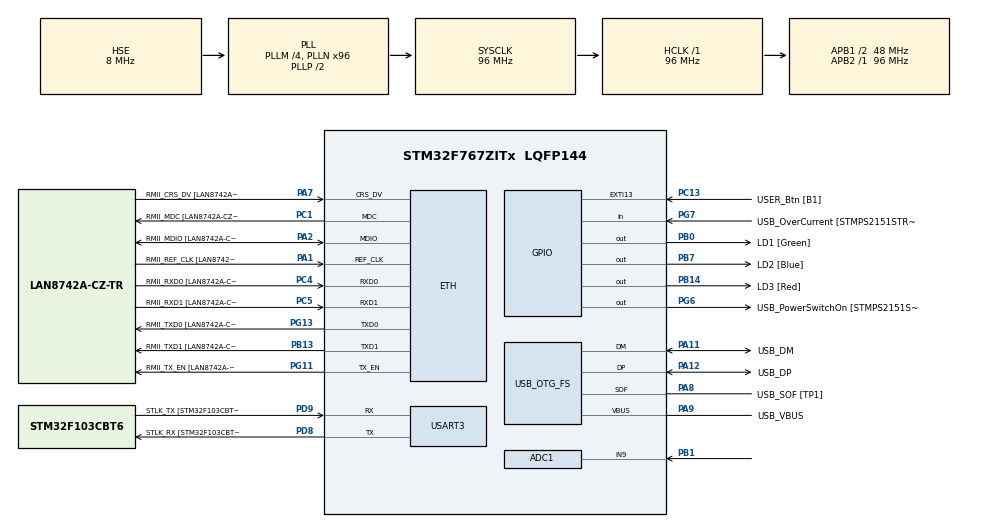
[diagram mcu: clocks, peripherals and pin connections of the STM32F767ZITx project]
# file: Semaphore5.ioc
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ADC1.Channel-0\#ChannelRegularConversion=ADC_CHANNEL_9
ADC1.NbrOfConversionFlag=1
ADC1.Rank-0\#ChannelRegularConversion=1
ADC1.SamplingTime-0\#ChannelRegularConversion=ADC_SAMPLETIME_3CYCLES
ADC1.master=1
ETH.MediaInterface=HAL_ETH_RMII_MODE
ETH.PHY_Name=LAN8742A_PHY_ADDRESS
ETH.PHY_Value=0
ETH.PhyAddress=0
FREERTOS.BinarySemaphores01=semADC,Dynamic,NULL,Depleted;semSend,Dynamic,NULL,Depleted
FREERTOS.Tasks01=TaskADC,24,128,StartADCTask,Default,NULL,Dynamic,NULL,NULL;TaskCalc,24,128,StartCalcTask,Default,NULL,Dynamic,NULL,NULL;TaskSend,24,128,StartSendTask,Default,NULL,Dynamic,NULL,NULL
FREERTOS.configUSE_NEWLIB_REENTRANT=1
Mcu.Family=STM32F7
Mcu.Name=STM32F767ZITx
Mcu.Package=LQFP144
NVIC.EXTI15_10_IRQn=true\:5\:0\:false\:false\:true\:true\:true\:true\:true
NVIC.PriorityGroup=NVIC_PRIORITYGROUP_4
NVIC.TIM6_DAC_IRQn=true\:15\:0\:false\:false\:true\:false\:false\:true\:true
NVIC.TimeBase=TIM6_DAC_IRQn
NVIC.TimeBaseIP=TIM6
PA1.GPIO_Label=RMII_REF_CLK [LAN8742A-CZ-TR_REFCLK0]
PA1.Mode=RMII
PA1.Signal=ETH_REF_CLK
PA10.GPIO_Label=USB_ID
PA10.Signal=USB_OTG_FS_ID
PA11.GPIO_Label=USB_DM
PA11.Mode=Device_Only
PA11.Signal=USB_OTG_FS_DM
PA12.GPIO_Label=USB_DP
PA12.Mode=Device_Only
PA12.Signal=USB_OTG_FS_DP
PA13.GPIO_Label=TMS
PA13.Mode=Serial_Wire
PA13.Signal=SYS_JTMS-SWDIO
PA14.GPIO_Label=TCK
PA14.Mode=Serial_Wire
PA14.Signal=SYS_JTCK-SWCLK
PA2.GPIO_Label=RMII_MDIO [LAN8742A-CZ-TR_MDIO]
PA2.Mode=RMII
PA2.Signal=ETH_MDIO
PA7.GPIO_Label=RMII_CRS_DV [LAN8742A-CZ-TR_CRS_DV]
PA7.Mode=RMII
PA7.Signal=ETH_CRS_DV
PA8.GPIO_Label=USB_SOF [TP1]
PA8.Mode=Activate_SOF_FS
PA8.Signal=USB_OTG_FS_SOF
PA9.GPIO_Label=USB_VBUS
PA9.Mode=Activate_VBUS
PA9.Signal=USB_OTG_FS_VBUS
PB0.GPIO_Label=LD1 [Green]
PB0.Signal=GPIO_Output
PB1.Signal=ADCx_IN9
PB13.GPIO_Label=RMII_TXD1 [LAN8742A-CZ-TR_TXD1]
PB13.Mode=RMII
PB13.Signal=ETH_TXD1
PB14.GPIO_Label=LD3 [Red]
PB14.Signal=GPIO_Output
PB3.GPIO_Label=SWO
PB3.Signal=SYS_JTDO-SWO
PB7.GPIO_Label=LD2 [Blue]
PB7.Signal=GPIO_Output
PC1.GPIO_Label=RMII_MDC [LAN8742A-CZ-TR_MDC]
PC1.Mode=RMII
PC1.Signal=ETH_MDC
PC13.GPIO_Label=USER_Btn [B1]
PC13.Signal=GPXTI13
PC14/OSC32_IN.Mode=LSE-External-Oscillator
PC14/OSC32_IN.Signal=RCC_OSC32_IN
PC15/OSC32_OUT.Mode=LSE-External-Oscillator
PC15/OSC32_OUT.Signal=RCC_OSC32_OUT
PC4.GPIO_Label=RMII_RXD0 [LAN8742A-CZ-TR_RXD0]
PC4.Mode=RMII
PC4.Signal=ETH_RXD0
PC5.GPIO_Label=RMII_RXD1 [LAN8742A-CZ-TR_RXD1]
PC5.Mode=RMII
PC5.Signal=ETH_RXD1
PD8.GPIO_Label=STLK_RX [STM32F103CBT6_PA3]
PD8.Mode=Asynchronous
PD8.Signal=USART3_TX
PD9.GPIO_Label=STLK_TX [STM32F103CBT6_PA2]
PD9.Mode=Asynchronous
PD9.Signal=USART3_RX
PG11.GPIO_Label=RMII_TX_EN [LAN8742A-CZ-TR_TXEN]
PG11.Mode=RMII
PG11.Signal=ETH_TX_EN
PG13.GPIO_Label=RMII_TXD0 [LAN8742A-CZ-TR_TXD0]
PG13.Mode=RMII
PG13.Signal=ETH_TXD0
PG6.GPIO_Label=USB_PowerSwitchOn [STMPS2151STR_EN]
PG6.Signal=GPIO_Output
PG7.GPIO_Label=USB_OverCurrent [STMPS2151STR_FAULT]
PG7.Signal=GPIO_Input
PH0/OSC_IN.GPIO_Label=MCO [STM32F103CBT6_PA8]
PH0/OSC_IN.Mode=HSE-External-Clock-Source
PH0/OSC_IN.Signal=RCC_OSC_IN
PH1/OSC_OUT.Mode=HSE-External-Clock-Source
PH1/OSC_OUT.Signal=RCC_OSC_OUT
ProjectManager.HeapSize=0x200
ProjectManager.StackSize=0x400
ProjectManager.TargetToolchain=STM32CubeIDE
RCC.48MHZClocksFreq_Value=24000000
RCC.AHBFreq_Value=96000000
RCC.APB1CLKDivider=RCC_HCLK_DIV2
RCC.APB1Freq_Value=48000000
RCC.APB1TimFreq_Value=96000000
RCC.APB2Freq_Value=96000000
RCC.APB2TimFreq_Value=96000000
RCC.CortexFreq_Value=96000000
RCC.HCLKFreq_Value=96000000
RCC.HSE_VALUE=8000000
RCC.HSI_VALUE=16000000
RCC.PLLM=4
RCC.PLLMUL=RCC_PLL_MUL9
RCC.PLLN=96
RCC.PLLQ=4
RCC.PRESCALERUSB=RCC_USBCLKSOURCE_PLL_DIV1_5
RCC.SYSCLKFreq_VALUE=96000000
RCC.SYSCLKSource=RCC_SYSCLKSOURCE_PLLCLK
RCC.SYSCLKSourceVirtual=RCC_SYSCLKSOURCE_PLLCLK
RCC.USBFreq_Value=48000000
RCC.VCOOutputFreq_Value=192000000
SH.ADCx_IN9.0=ADC1_IN9,IN9
USART3.VirtualMode-Asynchronous=VM_ASYNC
USB_OTG_FS.VirtualMode=Device_Only
VP_FREERTOS_VS_CMSIS_V2.Mode=CMSIS_V2
VP_SYS_VS_tim6.Mode=TIM6
board=NUCLEO-F767ZI

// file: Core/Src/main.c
/* USER CODE BEGIN Header */
/**
  ******************************************************************************
  * @file           : main.c
  * @brief          : Main program body
  ******************************************************************************
  * @attention
  *
  * Copyright (c) 2025 STMicroelectronics.
  * All rights reserved.
  *
  * This software is licensed under terms that can be found in the LICENSE file
  * in the root directory of this software component.
  * If no LICENSE file comes with this software, it is provided AS-IS.
  *
  ******************************************************************************
  */
/* USER CODE END Header */
#include "main.h"
#include "string.h"
#include "cmsis_os.h"
#include<stdbool.h>

#if defined ( __ICCARM__ ) /*!< IAR Compiler */
#pragma location=0x2007c000
ETH_DMADescTypeDef  DMARxDscrTab[ETH_RX_DESC_CNT]; /* Ethernet Rx DMA Descriptors */
#pragma location=0x2007c0a0
ETH_DMADescTypeDef  DMATxDscrTab[ETH_TX_DESC_CNT]; /* Ethernet Tx DMA Descriptors */

#elif defined ( __CC_ARM )  /* MDK ARM Compiler */

__attribute__((at(0x2007c000))) ETH_DMADescTypeDef  DMARxDscrTab[ETH_RX_DESC_CNT]; /* Ethernet Rx DMA Descriptors */
__attribute__((at(0x2007c0a0))) ETH_DMADescTypeDef  DMATxDscrTab[ETH_TX_DESC_CNT]; /* Ethernet Tx DMA Descriptors */

#elif defined ( __GNUC__ ) /* GNU Compiler */

ETH_DMADescTypeDef DMARxDscrTab[ETH_RX_DESC_CNT] __attribute__((section(".RxDecripSection"))); /* Ethernet Rx DMA Descriptors */
ETH_DMADescTypeDef DMATxDscrTab[ETH_TX_DESC_CNT] __attribute__((section(".TxDecripSection")));   /* Ethernet Tx DMA Descriptors */
#endif

ETH_TxPacketConfig TxConfig;

ADC_HandleTypeDef hadc1;

ETH_HandleTypeDef heth;

UART_HandleTypeDef huart3;

PCD_HandleTypeDef hpcd_USB_OTG_FS;

/* Definitions for TaskADC */
osThreadId_t TaskADCHandle;
const osThreadAttr_t TaskADC_attributes = {
  .name = "TaskADC",
  .stack_size = 128 * 4,
  .priority = (osPriority_t) osPriorityNormal,
};
/* Definitions for TaskCalc */
osThreadId_t TaskCalcHandle;
const osThreadAttr_t TaskCalc_attributes = {
  .name = "TaskCalc",
  .stack_size = 128 * 4,
  .priority = (osPriority_t) osPriorityNormal,
};
/* Definitions for TaskSend */
osThreadId_t TaskSendHandle;
const osThreadAttr_t TaskSend_attributes = {
  .name = "TaskSend",
  .stack_size = 128 * 4,
  .priority = (osPriority_t) osPriorityNormal,
};
/* Definitions for semADC */
osSemaphoreId_t semADCHandle;
const osSemaphoreAttr_t semADC_attributes = {
  .name = "semADC"
};
/* Definitions for semSend */
osSemaphoreId_t semSendHandle;
const osSemaphoreAttr_t semSend_attributes = {
  .name = "semSend"
};

void SystemClock_Config(void);
static void MX_GPIO_Init(void);
static void MX_ETH_Init(void);
static void MX_USART3_UART_Init(void);
static void MX_USB_OTG_FS_PCD_Init(void);
static void MX_ADC1_Init(void);
void StartADCTask(void *argument);
void StartCalcTask(void *argument);
void StartSendTask(void *argument);

/* USER CODE BEGIN 0 */
uint32_t samples[100];
uint32_t g_avg = 0;
volatile bool restartFlag = false;

void HAL_GPIO_EXTI_Callback(uint16_t GPIO_Pin){
	if(GPIO_Pin = GPIO_PIN_13){
		restartFlag = true;
	}
}
/* USER CODE END 0 */

int main(void)
{

  /* MCU Configuration--------------------------------------------------------*/

  /* Reset of all peripherals, Initializes the Flash interface and the Systick. */
  HAL_Init();

  /* Configure the system clock */
  SystemClock_Config();

  /* Initialize all configured peripherals */
  MX_GPIO_Init();
  MX_ETH_Init();
  MX_USART3_UART_Init();
  MX_USB_OTG_FS_PCD_Init();
  MX_ADC1_Init();

  /* Init scheduler */
  osKernelInitialize();

  /* Create the semaphores(s) */
  /* creation of semADC */
  semADCHandle = osSemaphoreNew(1, 0, &semADC_attributes);

  /* creation of semSend */
  semSendHandle = osSemaphoreNew(1, 0, &semSend_attributes);

  /* Create the thread(s) */
  /* creation of TaskADC */
  TaskADCHandle = osThreadNew(StartADCTask, NULL, &TaskADC_attributes);

  /* creation of TaskCalc */
  TaskCalcHandle = osThreadNew(StartCalcTask, NULL, &TaskCalc_attributes);

  /* creation of TaskSend */
  TaskSendHandle = osThreadNew(StartSendTask, NULL, &TaskSend_attributes);

  /* Start scheduler */
  osKernelStart();

  /* We should never get here as control is now taken by the scheduler */

  /* Infinite loop */
  while (1)
  {

  }
}

void SystemClock_Config(void)
{
  RCC_OscInitTypeDef RCC_OscInitStruct = {0};
  RCC_ClkInitTypeDef RCC_ClkInitStruct = {0};

  /** Configure LSE Drive Capability
  */
  HAL_PWR_EnableBkUpAccess();

  /** Configure the main internal regulator output voltage
  */
  __HAL_RCC_PWR_CLK_ENABLE();
  __HAL_PWR_VOLTAGESCALING_CONFIG(PWR_REGULATOR_VOLTAGE_SCALE3);

  /** Initializes the RCC Oscillators according to the specified parameters
  * in the RCC_OscInitTypeDef structure.
  */
  RCC_OscInitStruct.OscillatorType = RCC_OSCILLATORTYPE_HSE;
  RCC_OscInitStruct.HSEState = RCC_HSE_BYPASS;
  RCC_OscInitStruct.PLL.PLLState = RCC_PLL_ON;
  RCC_OscInitStruct.PLL.PLLSource = RCC_PLLSOURCE_HSE;
  RCC_OscInitStruct.PLL.PLLM = 4;
  RCC_OscInitStruct.PLL.PLLN = 96;
  RCC_OscInitStruct.PLL.PLLP = RCC_PLLP_DIV2;
  RCC_OscInitStruct.PLL.PLLQ = 4;
  RCC_OscInitStruct.PLL.PLLR = 2;
  if (HAL_RCC_OscConfig(&RCC_OscInitStruct) != HAL_OK)
  {
    Error_Handler();
  }

  /** Activate the Over-Drive mode
  */
  if (HAL_PWREx_EnableOverDrive() != HAL_OK)
  {
    Error_Handler();
  }

  /** Initializes the CPU, AHB and APB buses clocks
  */
  RCC_ClkInitStruct.ClockType = RCC_CLOCKTYPE_HCLK|RCC_CLOCKTYPE_SYSCLK
                              |RCC_CLOCKTYPE_PCLK1|RCC_CLOCKTYPE_PCLK2;
  RCC_ClkInitStruct.SYSCLKSource = RCC_SYSCLKSOURCE_PLLCLK;
  RCC_ClkInitStruct.AHBCLKDivider = RCC_SYSCLK_DIV1;
  RCC_ClkInitStruct.APB1CLKDivider = RCC_HCLK_DIV2;
  RCC_ClkInitStruct.APB2CLKDivider = RCC_HCLK_DIV1;

  if (HAL_RCC_ClockConfig(&RCC_ClkInitStruct, FLASH_LATENCY_3) != HAL_OK)
  {
    Error_Handler();
  }
}

static void MX_ADC1_Init(void)
{

  ADC_ChannelConfTypeDef sConfig = {0};

  /** Configure the global features of the ADC (Clock, Resolution, Data Alignment and number of conversion)
  */
  hadc1.Instance = ADC1;
  hadc1.Init.ClockPrescaler = ADC_CLOCK_SYNC_PCLK_DIV4;
  hadc1.Init.Resolution = ADC_RESOLUTION_12B;
  hadc1.Init.ScanConvMode = ADC_SCAN_DISABLE;
  hadc1.Init.ContinuousConvMode = DISABLE;
  hadc1.Init.DiscontinuousConvMode = DISABLE;
  hadc1.Init.ExternalTrigConvEdge = ADC_EXTERNALTRIGCONVEDGE_NONE;
  hadc1.Init.ExternalTrigConv = ADC_SOFTWARE_START;
  hadc1.Init.DataAlign = ADC_DATAALIGN_RIGHT;
  hadc1.Init.NbrOfConversion = 1;
  hadc1.Init.DMAContinuousRequests = DISABLE;
  hadc1.Init.EOCSelection = ADC_EOC_SINGLE_CONV;
  if (HAL_ADC_Init(&hadc1) != HAL_OK)
  {
    Error_Handler();
  }

  /** Configure for the selected ADC regular channel its corresponding rank in the sequencer and its sample time.
  */
  sConfig.Channel = ADC_CHANNEL_9;
  sConfig.Rank = ADC_REGULAR_RANK_1;
  sConfig.SamplingTime = ADC_SAMPLETIME_3CYCLES;
  if (HAL_ADC_ConfigChannel(&hadc1, &sConfig) != HAL_OK)
  {
    Error_Handler();
  }

}

static void MX_ETH_Init(void)
{

   static uint8_t MACAddr[6];

  heth.Instance = ETH;
  MACAddr[0] = 0x00;
  MACAddr[1] = 0x80;
  MACAddr[2] = 0xE1;
  MACAddr[3] = 0x00;
  MACAddr[4] = 0x00;
  MACAddr[5] = 0x00;
  heth.Init.MACAddr = &MACAddr[0];
  heth.Init.MediaInterface = HAL_ETH_RMII_MODE;
  heth.Init.TxDesc = DMATxDscrTab;
  heth.Init.RxDesc = DMARxDscrTab;
  heth.Init.RxBuffLen = 1524;

  if (HAL_ETH_Init(&heth) != HAL_OK)
  {
    Error_Handler();
  }

  memset(&TxConfig, 0 , sizeof(ETH_TxPacketConfig));
  TxConfig.Attributes = ETH_TX_PACKETS_FEATURES_CSUM | ETH_TX_PACKETS_FEATURES_CRCPAD;
  TxConfig.ChecksumCtrl = ETH_CHECKSUM_IPHDR_PAYLOAD_INSERT_PHDR_CALC;
  TxConfig.CRCPadCtrl = ETH_CRC_PAD_INSERT;

}

static void MX_USART3_UART_Init(void)
{

  huart3.Instance = USART3;
  huart3.Init.BaudRate = 115200;
  huart3.Init.WordLength = UART_WORDLENGTH_8B;
  huart3.Init.StopBits = UART_STOPBITS_1;
  huart3.Init.Parity = UART_PARITY_NONE;
  huart3.Init.Mode = UART_MODE_TX_RX;
  huart3.Init.HwFlowCtl = UART_HWCONTROL_NONE;
  huart3.Init.OverSampling = UART_OVERSAMPLING_16;
  huart3.Init.OneBitSampling = UART_ONE_BIT_SAMPLE_DISABLE;
  huart3.AdvancedInit.AdvFeatureInit = UART_ADVFEATURE_NO_INIT;
  if (HAL_UART_Init(&huart3) != HAL_OK)
  {
    Error_Handler();
  }

}

static void MX_USB_OTG_FS_PCD_Init(void)
{

  hpcd_USB_OTG_FS.Instance = USB_OTG_FS;
  hpcd_USB_OTG_FS.Init.dev_endpoints = 6;
  hpcd_USB_OTG_FS.Init.speed = PCD_SPEED_FULL;
  hpcd_USB_OTG_FS.Init.dma_enable = DISABLE;
  hpcd_USB_OTG_FS.Init.phy_itface = PCD_PHY_EMBEDDED;
  hpcd_USB_OTG_FS.Init.Sof_enable = ENABLE;
  hpcd_USB_OTG_FS.Init.low_power_enable = DISABLE;
  hpcd_USB_OTG_FS.Init.lpm_enable = DISABLE;
  hpcd_USB_OTG_FS.Init.vbus_sensing_enable = ENABLE;
  hpcd_USB_OTG_FS.Init.use_dedicated_ep1 = DISABLE;
  if (HAL_PCD_Init(&hpcd_USB_OTG_FS) != HAL_OK)
  {
    Error_Handler();
  }

}

static void MX_GPIO_Init(void)
{
  GPIO_InitTypeDef GPIO_InitStruct = {0};

  /* GPIO Ports Clock Enable */
  __HAL_RCC_GPIOC_CLK_ENABLE();
  __HAL_RCC_GPIOH_CLK_ENABLE();
  __HAL_RCC_GPIOA_CLK_ENABLE();
  __HAL_RCC_GPIOB_CLK_ENABLE();
  __HAL_RCC_GPIOD_CLK_ENABLE();
  __HAL_RCC_GPIOG_CLK_ENABLE();

  /*Configure GPIO pin Output Level */
  HAL_GPIO_WritePin(GPIOB, LD1_Pin|LD3_Pin|LD2_Pin, GPIO_PIN_RESET);

  /*Configure GPIO pin Output Level */
  HAL_GPIO_WritePin(USB_PowerSwitchOn_GPIO_Port, USB_PowerSwitchOn_Pin, GPIO_PIN_RESET);

  /*Configure GPIO pin : USER_Btn_Pin */
  GPIO_InitStruct.Pin = USER_Btn_Pin;
  GPIO_InitStruct.Mode = GPIO_MODE_IT_RISING;
  GPIO_InitStruct.Pull = GPIO_NOPULL;
  HAL_GPIO_Init(USER_Btn_GPIO_Port, &GPIO_InitStruct);

  /*Configure GPIO pins : LD1_Pin LD3_Pin LD2_Pin */
  GPIO_InitStruct.Pin = LD1_Pin|LD3_Pin|LD2_Pin;
  GPIO_InitStruct.Mode = GPIO_MODE_OUTPUT_PP;
  GPIO_InitStruct.Pull = GPIO_NOPULL;
  GPIO_InitStruct.Speed = GPIO_SPEED_FREQ_LOW;
  HAL_GPIO_Init(GPIOB, &GPIO_InitStruct);

  /*Configure GPIO pin : USB_PowerSwitchOn_Pin */
  GPIO_InitStruct.Pin = USB_PowerSwitchOn_Pin;
  GPIO_InitStruct.Mode = GPIO_MODE_OUTPUT_PP;
  GPIO_InitStruct.Pull = GPIO_NOPULL;
  GPIO_InitStruct.Speed = GPIO_SPEED_FREQ_LOW;
  HAL_GPIO_Init(USB_PowerSwitchOn_GPIO_Port, &GPIO_InitStruct);

  /*Configure GPIO pin : USB_OverCurrent_Pin */
  GPIO_InitStruct.Pin = USB_OverCurrent_Pin;
  GPIO_InitStruct.Mode = GPIO_MODE_INPUT;
  GPIO_InitStruct.Pull = GPIO_NOPULL;
  HAL_GPIO_Init(USB_OverCurrent_GPIO_Port, &GPIO_InitStruct);

  /* EXTI interrupt init*/
  HAL_NVIC_SetPriority(EXTI15_10_IRQn, 5, 0);
  HAL_NVIC_EnableIRQ(EXTI15_10_IRQn);

}

void StartADCTask(void *argument)
{
  /* USER CODE BEGIN 5 */

  /* Infinite loop */
  for(;;)
  {
    while(!restartFlag){
    	osDelay(10);
    }

    for(int i = 0; i<100; i++){
    	/*HAL_ADC_Init(&hadc1);
    	HAL_ADC_PollForConversion(&hadc1, HAL_MAX_DELAY);
    	samples[i] = HAL_ADC_GetValue(&hadc1);
    	osDelay(10);*/
    	samples[i] = i;
    }
    osSemaphoreRelease(semADCHandle);
    restartFlag = false;
  }
  /* USER CODE END 5 */
}

void StartCalcTask(void *argument)
{
  /* USER CODE BEGIN StartCalcTask */
	uint32_t avg = 0;
  /* Infinite loop */
  for(;;)
  {
    osSemaphoreAcquire(semADCHandle, osWaitForever);

    for(int i = 0; i<100; i++){
    	avg += samples[i];
    	osDelay(1);
    }
    g_avg = avg/100;

    osSemaphoreRelease(semSendHandle);
  }
  /* USER CODE END StartCalcTask */
}

void StartSendTask(void *argument)
{
  /* USER CODE BEGIN StartSendTask */
	char buf[64];

  /* Infinite loop */
  for(;;)
  {
	osSemaphoreAcquire(semSendHandle, osWaitForever);

    for(int i = 0; i<10; i++){
    	snprintf(buf, sizeof(buf), "%lu \r \n", g_avg);
    	HAL_UART_Transmit(&huart3, (uint8_t*)buf, strlen(buf), HAL_MAX_DELAY);
    	osDelay(1);
    }
    snprintf(buf, sizeof(buf), "Processo Concluido, Esperando Botao...");
    HAL_UART_Transmit(&huart3, buf, strlen(buf), HAL_MAX_DELAY);
    restartFlag = false;

  }
  /* USER CODE END StartSendTask */
}

void HAL_TIM_PeriodElapsedCallback(TIM_HandleTypeDef *htim)
{
  if (htim->Instance == TIM6) {
    HAL_IncTick();
  }
}

void Error_Handler(void)
{
  __disable_irq();
  while (1)
  {
  }
}
